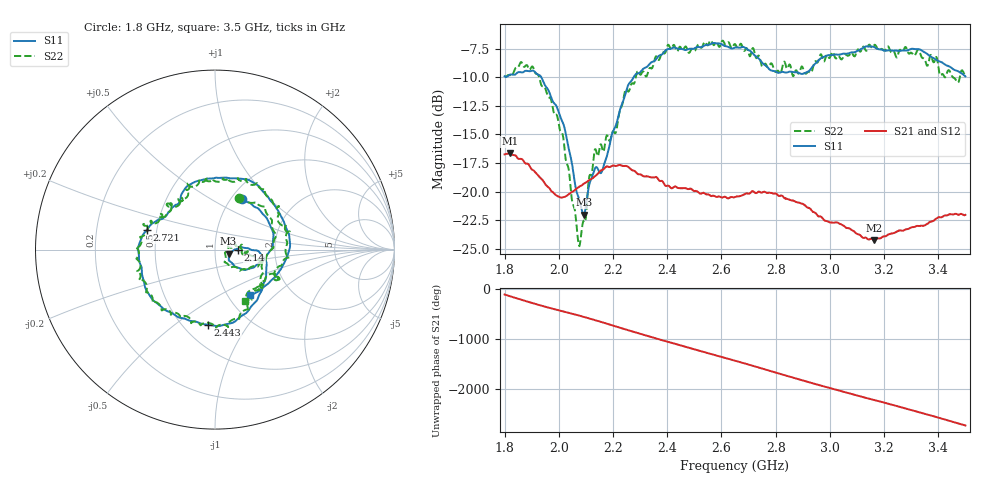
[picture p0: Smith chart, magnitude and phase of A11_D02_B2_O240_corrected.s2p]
! Created with skrf 1.9.0 (http://scikit-rf.org).
# Hz S RI R 50.0
!freq ReS11 ImS11 ReS21 ImS21 ReS12 ImS12 ReS22 ImS22
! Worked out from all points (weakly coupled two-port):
!   1601 points, 1.8 GHz to 3.5 GHz, reference 50 ohm
!   highest |S21| = -16.67 dB at 1.819 GHz (marker M1); lowest = -24.3 dB at 3.164 GHz (marker M2)
!   lowest |S11| = -22.0 dB at 2.092 GHz (marker M3), VSWR 1.17, Z = 58.1 - j2.74 ohm
!   |S11| at or under -10 dB: 1.935 GHz to 2.276 GHz (341 MHz wide, 16.2 % of centre)
!   |S22| runs from -24.8 to -6.8 dB; largest |S21 - S12| = 0.0025
!   S11 on the Smith chart (normalised r, x): 1.8 GHz: 1.12, +0.70; 2.14 GHz: 1.29, -0.01; 2.443 GHz: 0.66, -0.67; 2.721 GHz: 0.44, +0.12; 3.5 GHz: 1.26, -0.71
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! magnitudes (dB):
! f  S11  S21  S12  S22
! 1.8 GHz  -9.9  -16.8  -16.8  -9.9
! 1.819 GHz  -9.8  -16.7  -16.7  -9.8
! 1.903 GHz  -9.4  -18.1  -18.1  -9.1
! 1.968 GHz  -11.5  -19.8  -19.8  -11.8
! 2.015 GHz  -14.0  -20.5  -20.5  -15.1
! 2.072 GHz  -20.4  -19.6  -19.7  -24.4
! 2.084 GHz  -21.5  -19.5  -19.4  -23.5
! 2.092 GHz  -22.0  -19.3  -19.4  -22.6
! 2.115 GHz  -19.2  -19.0  -19.0  -18.5
! 2.14 GHz  -17.9  -18.5  -18.5  -16.7
! 2.163 GHz  -17.9  -18.1  -18.0  -16.5
! 2.259 GHz  -10.6  -17.9  -17.9  -11.2
! 2.367 GHz  -8.2  -18.9  -18.9  -8.5
! 2.443 GHz  -7.5  -19.7  -19.7  -7.5
! 2.65 GHz  -7.4  -20.5  -20.4  -7.1
! 2.721 GHz  -8.1  -20.1  -20.0  -7.8
! 2.808 GHz  -9.6  -20.3  -20.3  -9.4
! 2.934 GHz  -9.1  -21.7  -21.7  -9.5
! 3.164 GHz  -7.4  -24.3  -24.2  -7.2
! 3.217 GHz  -7.7  -23.7  -23.7  -7.4
! 3.468 GHz  -9.4  -22.0  -22.0  -10.4
! 3.5 GHz  -9.9  -22.0  -22.0  -9.5
